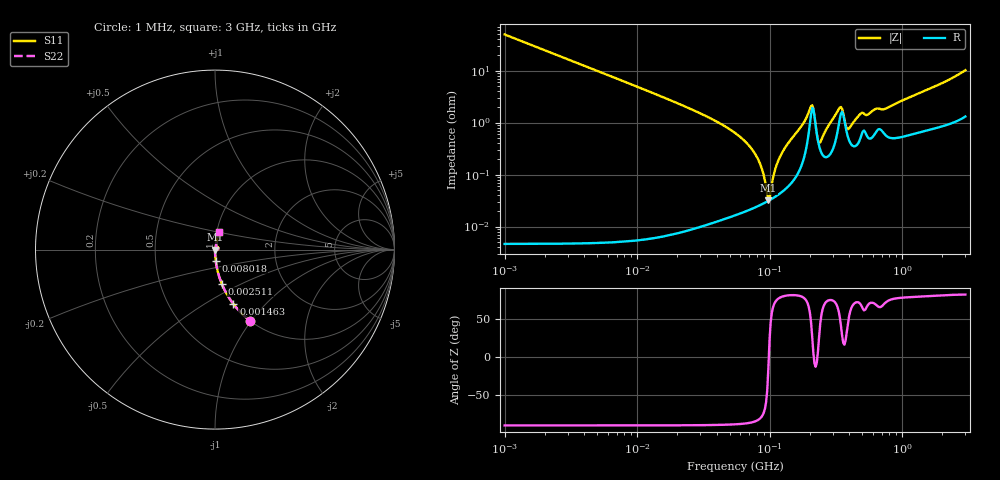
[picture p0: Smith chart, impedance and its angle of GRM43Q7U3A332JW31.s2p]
!Murata Part Number: GRM43Q7U3A332JW31
!These Parameters are Measured in Series Mode Connection
!Data Generated on Mar 30, 2021
!  o--ll--o
!Port1  Port2
!  o------o
!Operation Temp=25[degC], DC Bias Voltage=0[V]
!Freq. Start=1000[kHz] Stop=3[GHz] 401[Steps]
# Hz S RI R 50
!Freq.(Hz) S11(Real) S11(Imag) S21(Real) S21(Imag) S12(Real) S12(Imag) S22(Real) S22(Imag)
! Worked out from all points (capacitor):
!   401 points, 1 MHz to 3 GHz, reference 50 ohm
!   read as one part in series: C = 3.21 nF near 1.041 MHz
!   lowest |Z| = 32.1 mohm at 97.87 MHz (marker M1)
!   series resonance near 98.57 MHz, so ESL is about 810 pH
!   S11 on the Smith chart (normalised r, x): 1 MHz: 1.00, -0.99; 1.463 MHz: 1.00, -0.68; 2.511 MHz: 1.00, -0.39; 8.018 MHz: 1.00, -0.12; 3 GHz: 1.03, +0.20
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1000000  0.1968 -0.3976  0.8032 0.3976  0.8032 0.3976  0.1968 -0.3976
1462727  0.1028 -0.3036  0.8972 0.3036  0.8972 0.3036  0.1028 -0.3036
2511129  0.0374 -0.1896  0.9626 0.1896  0.9626 0.1896  0.0374 -0.1896
3823119  0.0165 -0.1272  0.9835 0.1272  0.9835 0.1272  0.0165 -0.1272
8017732  0.0038 -0.0611  0.9962 0.0611  0.9962 0.0611  0.0038 -0.0611
1.461624e7  0.00116 -0.0331  0.9988 0.0331  0.9988 0.0331  0.00116 -0.0331
5.477226e7  0.000204 -0.00632  0.9998 0.00632  0.9998 0.00632  0.000204 -0.00632
8.011685e7  0.000246 -0.00216  0.9998 0.00216  0.9998 0.00216  0.000246 -0.00216
8.679508e7  0.000268 -0.00133  0.9997 0.00133  0.9997 0.00133  0.000268 -0.00133
9.787052e7  0.000312 -7.47e-05  0.9997 7.47e-05  0.9997 7.47e-05  0.000312 -7.47e-05
1.018679e8  0.000331 0.000351  0.9997 -0.000351  0.9997 -0.000351  0.000331 0.000351
1.103592e8  0.000376 0.00122  0.9996 -0.00122  0.9996 -0.00122  0.000376 0.00122
1.219755e8  0.000454 0.00238  0.9995 -0.00238  0.9995 -0.00238  0.000454 0.00238
2.094008e8  0.0189 0.0095  0.9811 -0.0095  0.9811 -0.0095  0.0189 0.0095
2.314421e8  0.00448 0.000576  0.9955 -0.000576  0.9955 -0.000576  0.00448 0.000576
2.408952e8  0.00298 0.00288  0.997 -0.00288  0.997 -0.00288  0.00298 0.00288
3.385367e8  0.0119 0.0151  0.9881 -0.0151  0.9881 -0.0151  0.0119 0.0151
3.817355e8  0.00645 0.00416  0.9935 -0.00416  0.9935 -0.00416  0.00645 0.00416
3.973271e8  0.00457 0.00617  0.9954 -0.00617  0.9954 -0.00617  0.00457 0.00617
4.853736e8  0.00525 0.0137  0.9947 -0.0137  0.9947 -0.0137  0.00525 0.0137
8.005644e8  0.00547 0.0193  0.9945 -0.0193  0.9945 -0.0193  0.00547 0.0193
3e9  0.0226 0.0974  0.9774 -0.0974  0.9774 -0.0974  0.0226 0.0974
